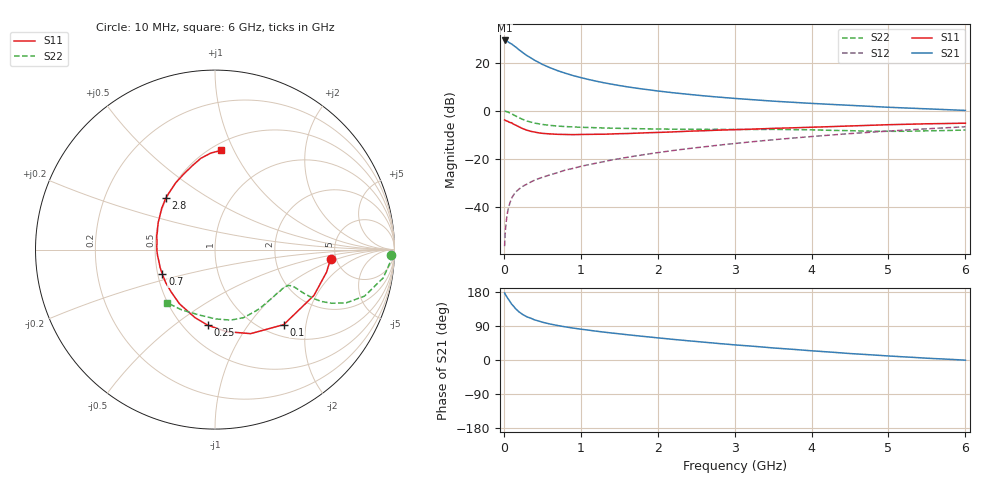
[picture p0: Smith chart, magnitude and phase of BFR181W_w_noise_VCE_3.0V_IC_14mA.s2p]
! Infineon Technologies  Discrete & RF Semiconductors
! BFR181W
! VCE =  3.0 V,  IC =  14 mA
! Common Emitter S-Parameters:  Jan 2017
# GHz  S  MA  R  50
!  f  S11  S21  S12  S22
! GHz  MAG  ANG  MAG  ANG  MAG  ANG  MAG  ANG
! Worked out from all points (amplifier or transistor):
!   77 points, 10 MHz to 6 GHz, reference 50 ohm
!   highest |S21| = 29.4 dB at 10 MHz (marker M1)
!   |S21| within 3 dB of that: start of sweep to 163.6 MHz
!   unconditionally stable (mu >= 1): 696 MHz to 2.689 GHz
!   at 130 MHz: K = 0.36, MSG = 31.1 dB, |S12| = -34.9 dB
!   at 2.2 GHz: K = 1.05, MAG = 10.7 dB, |S12| = -16.6 dB
!   at 6 GHz: K = 0.83, MSG = 3.4 dB, |S12| = -6.6 dB
!   lowest NFmin = 1.43 dB at 450 MHz
!   S11 on the Smith chart (normalised r, x): 10 MHz: 4.52, -0.77; 100 MHz: 1.22, -1.51; 250 MHz: 0.65, -0.67; 700 MHz: 0.53, -0.16; 2.8 GHz: 0.49, +0.34; 6 GHz: 0.56, +0.89
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0.01  0.6467 -4.4  29.49 177.1  0.0015 98.9  0.9806 -1.7
0.02  0.6341 -11.4  29.22 172.8  0.0032 93.9  0.9815 -3.7
0.05  0.6074 -24.9  27.98 162.9  0.0079 79.6  0.95 -9.6
0.1  0.5669 -47.5  24.99 147.7  0.0149 71.0  0.8721 -17.3
0.15  0.5086 -67.0  21.75 135.9  0.02 65.7  0.7882 -22.1
0.2  0.4617 -82.0  18.72 126.5  0.0235 64.0  0.7153 -24.7
0.25  0.4233 -95.4  16.29 119.4  0.0269 60.5  0.6594 -26.0
0.3  0.3953 -106.3  14.27 113.9  0.0296 61.5  0.6136 -26.4
0.4  0.3612 -123.2  11.38 105.8  0.0358 62.2  0.556 -26.2
0.5  0.3396 -135.9  9.358 99.8  0.041 63.6  0.5208 -25.8
0.6  0.3305 -146.3  7.961 95.0  0.0462 64.5  0.4981 -25.4
0.7  0.324 -154.9  6.899 91.0  0.0514 66.6  0.4817 -25.2
0.9  0.3193 -168.1  5.455 84.3  0.063 68.4  0.4622 -25.7
1.1  0.3233 -178.3  4.525 78.8  0.0752 69.8  0.4498 -26.8
1.3  0.3256 172.7  3.863 73.6  0.0871 70.8  0.4402 -28.7
1.5  0.3342 166.2  3.383 69.1  0.1003 71.2  0.4321 -31.0
2.1  0.3591 149.1  2.494 56.5  0.1415 70.4  0.4166 -40.5
2.8  0.3967 133.8  1.932 43.4  0.1929 67.6  0.4113 -54.0
3.1  0.4095 127.9  1.773 38.4  0.2163 65.8  0.4095 -59.9
4.1  0.461 110.9  1.406 22.9  0.2998 58.5  0.3979 -79.7
5.1  0.5189 97.5  1.171 9.5  0.3874 49.1  0.3744 -106.9
6  0.5536 86.7  1.022 -0.4  0.4662 39.7  0.3994 -132.3
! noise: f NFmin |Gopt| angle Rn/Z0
0.45  1.43  0.06  16  0.21
0.9  1.48  0.06  32  0.21
1.9  1.92  0.11  -141  0.21
2.4  2.13  0.14  -109  0.27
